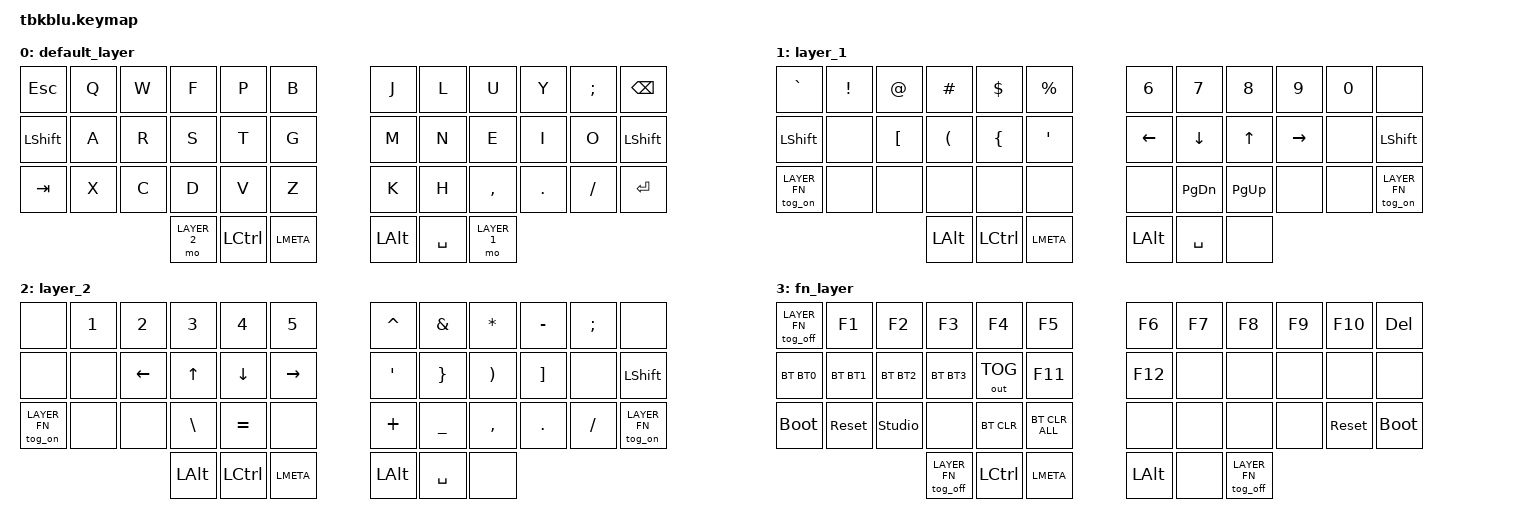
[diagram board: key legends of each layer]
// See zmk docs for keymap lists... and PRETTY GOOD in depth explanations.
// https://zmk.dev/docs

#include <behaviors.dtsi>
#include <dt-bindings/zmk/bt.h>
#include <dt-bindings/zmk/keys.h>
#include <dt-bindings/zmk/outputs.h>
#include <dt-bindings/zmk/ext_power.h>

// TBK Mini 42 keys (3x6+3)
// Colemak-DH keymap.

/*                        KEY POSITIONS

      ╭────────────────────────╮ ╭────────────────────────╮
      │  0   1   2   3   4   5 │ │  6   7   8   9  10  11 │
      │ 12  13  14  15  16  17 │ │ 18  19  20  21  22  23 │
      │ 24  25  26  27  28  29 │ │ 30  31  32  33  34  35 │
      ╰───────────╮ 36  37  38 │ │ 39  40  41 ╭───────────╯
                  ╰────────────╯ ╰────────────╯        
*/

#define LAYER_DEFAULT 0
#define LAYER_1 1
#define LAYER_2 2
#define LAYER_FN 3

#define BT0 BT_SEL 0
#define BT1 BT_SEL 1
#define BT2 BT_SEL 2
#define BT3 BT_SEL 3
#define BT4 BT_SEL 4
#define BT5 BT_SEL 5

/ {
    behaviors {
        tog_on: toggle_layer_on_only {
            compatible = "zmk,behavior-toggle-layer";
            #binding-cells = <1>;
            display-name = "Toggle Layer On";
            toggle-mode = "on";
            locking;
        };
        tog_off: toggle_layer_off_only {
            compatible = "zmk,behavior-toggle-layer";
            #binding-cells = <1>;
            display-name = "Toggle Layer Off";
            toggle-mode = "off";
            locking;
        };
    };

    keymap {
        compatible = "zmk,keymap";

        default_layer {
// -----------------------------------------------------------------------------------------------------------------------------                
// | esc   |  q   |  w   |  f   |  p   |  b   |                  |  j   |  l   |  u   |  y   | ;|:  | backspace  |   
// | shift |  a   |  r   |  s   |  t   |  g   |                  |  m   |  n   |  e   |  i   |  o   | '/"        |   
// | tab   |  x   |  c   |  d   |  v   |  z   |                  |  n   |  m   |  </, | >/.  | ?//  |  fnb       |
//                                     
//                     | shift | space | ctrl |                 | esc  | ent | bksp | 
            bindings = <
    &kp ESC      &kp Q &kp W &kp F &kp P &kp B                &kp J &kp L &kp U      &kp Y    &kp SEMI    &kp BSPC
    &kp LSHIFT   &kp A &kp R &kp S &kp T &kp G                &kp M &kp N &kp E      &kp I    &kp O       &kp LSHIFT
    &kp TAB      &kp X &kp C &kp D &kp V &kp Z                &kp K &kp H &kp COMMA  &kp DOT  &kp FSLH    &kp RETURN
                   
                    &mo LAYER_2 &kp LCTRL &kp LMETA       &kp LALT &kp SPACE &mo LAYER_1
            >;

            };

        layer_1 {
// -----------------------------------------------------------------------------------------------------------------------------
// | `/~  | !    | @    |  #   |   $  |  %   |                         |  6 ^ | 7 &  | 8 *  | 9 (  |  0 ) | + = |         
// | volM | ___  |  ___ |  ___ | ___  | ___  |                         |  <   |  ^   |   v  |  >   | ___  | \ | |   
// | ___  | pre  |  paus|  nxt | volU | volD |                         | ___  | ___  |  [   |  ]   |  {   |  }  |
//                                     
//                             | shift | ___ | ___ |             | del | ___ | ___ | 
            bindings = <
    &kp GRAVE  &kp EXCL &kp AT  &kp HASH  &kp DOLLAR  &kp PERCENT                        &kp N6  &kp N7  &kp N8  &kp N9  &kp N0 &none
    &kp LSHIFT &none &kp LEFT_BRACKET &kp LEFT_PARENTHESIS &kp LEFT_BRACE &kp SQT        &kp LEFT  &kp DOWN  &kp UP  &kp RIGHT  &none &kp LSHIFT
    &tog_on LAYER_FN &none &none &none &none &none                                          &none  &kp PAGE_DOWN  &kp PAGE_UP  &none  &none &tog_on LAYER_FN
                   
                          &kp LALT &kp LCTRL &kp LMETA       &kp LALT &kp SPACE &none
                        >;
            };

         layer_2 {
// -----------------------------------------------------------------------------------------------------------------------------
// | ___ | ___ | ___ | ___ | ___ | ___ |                     | ___ | ___ | ___ | ___ | ___ | ___ |   
// | ___ | ___ | ___ | ___ | ___ | BTC |                     | ___ | bt1 | bt2 | bt3 | bt4 | ___ |   
// | ___ | ___ | ___ | ___ | ___ | ___ |                     | ___ | ___ | ___ | ___ | ___ | ___ |
//                                                 
//                   | ___ | ___ | ___ |                     | ___ | ___ | ___ | 
            bindings = <
    &none &kp N1 &kp N2 &kp N3 &kp N4 &kp N5                        &kp CARET &kp AMPS &kp ASTRK &kp MINUS &kp SEMICOLON &none
    &none &none &kp LEFT &kp UP &kp DOWN &kp RIGHT                  &kp SQT &kp RIGHT_BRACE &kp RIGHT_PARENTHESIS &kp RIGHT_BRACKET &none &kp LSHIFT
    &tog_on LAYER_FN &none &none &kp BACKSLASH &kp EQUAL &none         &kp PLUS &kp UNDERSCORE &kp COMMA &kp DOT &kp FSLH  &tog_on LAYER_FN
                   
                          &kp LALT &kp LCTRL &kp LMETA        &kp LALT &kp SPACE &none
                        >;
            };

         fn_layer {
// -----------------------------------------------------------------------------------------------------------------------------
// | ___ | ___ | ___ | ___ | ___ | ___ |                     | ___ | ___ | ___ | ___ | ___ | ___ |   
// | ___ | ___ | ___ | ___ | ___ | BTC |                     | ___ | bt1 | bt2 | bt3 | bt4 | ___ |   
// | ___ | ___ | ___ | ___ | ___ | ___ |                     | ___ | ___ | ___ | ___ | ___ | ___ |
//                                                 
//                   | ___ | ___ | ___ |                     | ___ | ___ | ___ | 
            bindings = <
    &tog_off LAYER_FN &kp F1 &kp F2 &kp F3 &kp F4 &kp F5                          &kp F6  &kp F7 &kp F8 &kp F9 &kp F10 &kp DELETE
    &bt BT0 &bt BT1 &bt BT2 &bt BT3 &out OUT_TOG &kp F11                           &kp F12 &none &none &none &none &none
    &bootloader &sys_reset &studio_unlock &none &bt BT_CLR &bt BT_CLR_ALL          &none &none &none &none &sys_reset &bootloader
                   
                          &tog_off LAYER_FN &kp LCTRL &kp LMETA            &kp LALT &none &tog_off LAYER_FN
                        >;

        };
    };
};
